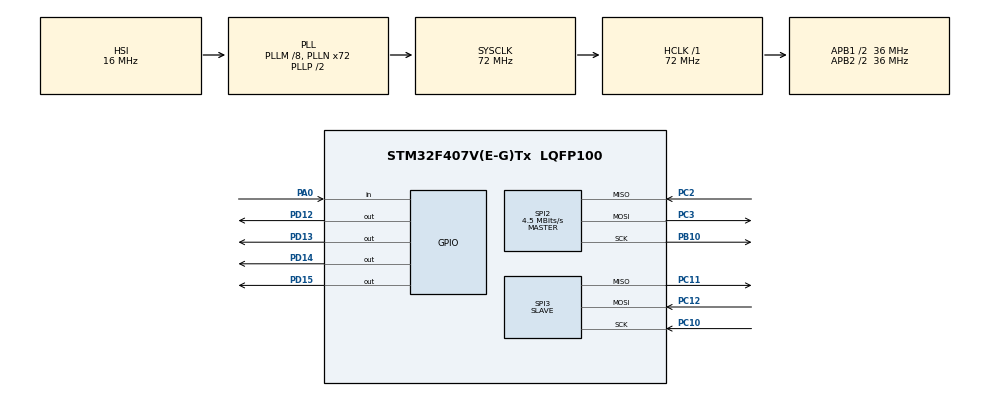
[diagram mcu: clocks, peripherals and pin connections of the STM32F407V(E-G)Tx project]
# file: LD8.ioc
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Mcu.Family=STM32F4
Mcu.Name=STM32F407V(E-G)Tx
Mcu.Package=LQFP100
NVIC.PriorityGroup=NVIC_PRIORITYGROUP_0
NVIC.SPI3_IRQn=true\:0\:0\:false\:false\:true\:true\:true\:true
NVIC.TIM2_IRQn=true\:0\:0\:false\:false\:true\:true\:true\:true
NVIC.TIM3_IRQn=true\:0\:0\:false\:false\:true\:true\:true\:true
PA0-WKUP.Signal=GPIO_Input
PB10.GPIO_PuPd=GPIO_NOPULL
PB10.Mode=Full_Duplex_Master
PB10.Signal=SPI2_SCK
PC10.GPIO_PuPd=GPIO_NOPULL
PC10.Mode=Full_Duplex_Slave
PC10.Signal=SPI3_SCK
PC11.GPIO_PuPd=GPIO_NOPULL
PC11.Mode=Full_Duplex_Slave
PC11.Signal=SPI3_MISO
PC12.GPIO_PuPd=GPIO_NOPULL
PC12.Mode=Full_Duplex_Slave
PC12.Signal=SPI3_MOSI
PC2.GPIO_PuPd=GPIO_NOPULL
PC2.Mode=Full_Duplex_Master
PC2.Signal=SPI2_MISO
PC3.GPIO_PuPd=GPIO_NOPULL
PC3.Mode=Full_Duplex_Master
PC3.Signal=SPI2_MOSI
PD12.Signal=GPIO_Output
PD13.Signal=GPIO_Output
PD14.Signal=GPIO_Output
PD15.Signal=GPIO_Output
ProjectManager.HeapSize=0x200
ProjectManager.StackSize=0x400
ProjectManager.TargetToolchain=STM32CubeIDE
RCC.48MHZClocksFreq_Value=20571428.57142857
RCC.AHBFreq_Value=72000000
RCC.APB1CLKDivider=RCC_HCLK_DIV2
RCC.APB1Freq_Value=36000000
RCC.APB1TimFreq_Value=72000000
RCC.APB2CLKDivider=RCC_HCLK_DIV2
RCC.APB2Freq_Value=36000000
RCC.APB2TimFreq_Value=72000000
RCC.CortexFreq_Value=72000000
RCC.HCLKFreq_Value=72000000
RCC.HSE_VALUE=8000000
RCC.HSI_VALUE=16000000
RCC.LSE_VALUE=32768
RCC.PLLM=8
RCC.PLLN=72
RCC.PLLQ=7
RCC.SYSCLKFreq_VALUE=72000000
RCC.SYSCLKSource=RCC_SYSCLKSOURCE_PLLCLK
RCC.VCOOutputFreq_Value=144000000
SPI2.BaudRatePrescaler=SPI_BAUDRATEPRESCALER_8
SPI2.CalculateBaudRate=4.5 MBits/s
SPI2.Direction=SPI_DIRECTION_2LINES
SPI2.Mode=SPI_MODE_MASTER
SPI2.VirtualType=VM_MASTER
SPI3.Direction=SPI_DIRECTION_2LINES
SPI3.Mode=SPI_MODE_SLAVE
SPI3.VirtualType=VM_SLAVE
TIM2.Period=2000-1
TIM2.Prescaler=36000-1
TIM3.Period=4000-1
TIM3.Prescaler=36000-1
VP_TIM2_VS_ClockSourceINT.Mode=Internal
VP_TIM3_VS_ClockSourceINT.Mode=Internal
board=STM32F407G-DISC1

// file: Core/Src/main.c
/* USER CODE BEGIN Header */
/**
  ******************************************************************************
  * @file           : main.c
  * @brief          : Main program body
  ******************************************************************************
  * @attention
  *
  * Copyright (c) 2024 STMicroelectronics.
  * All rights reserved.
  *
  * This software is licensed under terms that can be found in the LICENSE file
  * in the root directory of this software component.
  * If no LICENSE file comes with this software, it is provided AS-IS.
  *
  ******************************************************************************
  */
/* USER CODE END Header */
#include "main.h"

/* USER CODE BEGIN Includes */
#include <stdbool.h>
/* USER CODE END Includes */

/* USER CODE BEGIN PD */
int seconds = 0;
extern uint8_t numberToSend;
extern uint8_t receivedNumber;
uint8_t uzd_nr = 2;
uint8_t gues = 0;
bool win = false;
uint8_t happyNumber = 9;
/* USER CODE END PD */

SPI_HandleTypeDef hspi2;
SPI_HandleTypeDef hspi3;

TIM_HandleTypeDef htim2;
TIM_HandleTypeDef htim3;

void SystemClock_Config(void);
static void MX_GPIO_Init(void);
static void MX_TIM2_Init(void);
static void MX_TIM3_Init(void);
static void MX_SPI2_Init(void);
static void MX_SPI3_Init(void);

int main(void)
{

  /* MCU Configuration--------------------------------------------------------*/

  /* Reset of all peripherals, Initializes the Flash interface and the Systick. */
  HAL_Init();

  /* Configure the system clock */
  SystemClock_Config();

  /* Initialize all configured peripherals */
  MX_GPIO_Init();
  MX_TIM2_Init();
  MX_TIM3_Init();
  MX_SPI2_Init();
  MX_SPI3_Init();
  /* USER CODE BEGIN 2 */
  if (uzd_nr == 2){
  	  HAL_TIM_Base_Start_IT(&htim3);
  }
  /* USER CODE END 2 */

  /* Infinite loop */
  /* USER CODE BEGIN WHILE */
  while (1)
  {
	  if (uzd_nr == 1){
		  if (HAL_GPIO_ReadPin(GPIOA, GPIO_PIN_0) == GPIO_PIN_SET){
		  		  seconds = 0;
		  		  HAL_TIM_Base_Start_IT(&htim2);
		  		  bool condition_met = true;
		  	  	  while(condition_met) {
		  	  		  // Check the condition
		  	  		  if(HAL_GPIO_ReadPin(GPIOA, GPIO_PIN_0) == GPIO_PIN_SET) {
		  	  			  condition_met = true;
		  	  		  }
		  	  		  else if (HAL_GPIO_ReadPin(GPIOA, GPIO_PIN_0) == GPIO_PIN_RESET){
		  	  			condition_met = false;
		  	  			if (seconds == 0) {
		  	  				HAL_GPIO_WritePin(GPIOD, GPIO_PIN_12, GPIO_PIN_SET);
		  	  				HAL_GPIO_WritePin(GPIOD, GPIO_PIN_15, GPIO_PIN_RESET);
		  	  			}
		  	  			else if (seconds > 0) {
		  	  				HAL_GPIO_WritePin(GPIOD, GPIO_PIN_15, GPIO_PIN_SET);
		  	  				HAL_GPIO_WritePin(GPIOD, GPIO_PIN_12, GPIO_PIN_RESET);
		  	  			}
		  	  		  }
		  	  	  }
		  	  	  HAL_TIM_Base_Stop_IT(&htim2);
		  	  }
	  }
	  if (uzd_nr == 2){
		  if (HAL_GPIO_ReadPin(GPIOA, GPIO_PIN_0) == GPIO_PIN_SET){
			  gues = receivedNumber - 1;
			  seconds = 0;
			  HAL_TIM_Base_Start_IT(&htim2);
			  bool condition_met = true;
			  while(condition_met) {
				  // Check the condition
				  if(HAL_GPIO_ReadPin(GPIOA, GPIO_PIN_0) == GPIO_PIN_SET) {
					  condition_met = true;
				  }
				  else if (HAL_GPIO_ReadPin(GPIOA, GPIO_PIN_0) == GPIO_PIN_RESET){
					condition_met = false;
					if (seconds == 0) {
						if (gues == happyNumber){
							HAL_TIM_Base_Stop_IT(&htim3);
							win = true;
						}
						else;
					}
					else if (seconds > 0) {
						if (win == true){
							receivedNumber = 5;
							HAL_TIM_Base_Start_IT(&htim3);
							win = false;

						}
					}
				  }
			  }
			  HAL_TIM_Base_Stop_IT(&htim2);
		  }
	  }
    /* USER CODE END WHILE */

  }
}

void SystemClock_Config(void)
{
  RCC_OscInitTypeDef RCC_OscInitStruct = {0};
  RCC_ClkInitTypeDef RCC_ClkInitStruct = {0};

  /** Configure the main internal regulator output voltage
  */
  __HAL_RCC_PWR_CLK_ENABLE();
  __HAL_PWR_VOLTAGESCALING_CONFIG(PWR_REGULATOR_VOLTAGE_SCALE1);

  /** Initializes the RCC Oscillators according to the specified parameters
  * in the RCC_OscInitTypeDef structure.
  */
  RCC_OscInitStruct.OscillatorType = RCC_OSCILLATORTYPE_HSI;
  RCC_OscInitStruct.HSIState = RCC_HSI_ON;
  RCC_OscInitStruct.HSICalibrationValue = RCC_HSICALIBRATION_DEFAULT;
  RCC_OscInitStruct.PLL.PLLState = RCC_PLL_ON;
  RCC_OscInitStruct.PLL.PLLSource = RCC_PLLSOURCE_HSI;
  RCC_OscInitStruct.PLL.PLLM = 8;
  RCC_OscInitStruct.PLL.PLLN = 72;
  RCC_OscInitStruct.PLL.PLLP = RCC_PLLP_DIV2;
  RCC_OscInitStruct.PLL.PLLQ = 7;
  if (HAL_RCC_OscConfig(&RCC_OscInitStruct) != HAL_OK)
  {
    Error_Handler();
  }

  /** Initializes the CPU, AHB and APB buses clocks
  */
  RCC_ClkInitStruct.ClockType = RCC_CLOCKTYPE_HCLK|RCC_CLOCKTYPE_SYSCLK
                              |RCC_CLOCKTYPE_PCLK1|RCC_CLOCKTYPE_PCLK2;
  RCC_ClkInitStruct.SYSCLKSource = RCC_SYSCLKSOURCE_PLLCLK;
  RCC_ClkInitStruct.AHBCLKDivider = RCC_SYSCLK_DIV1;
  RCC_ClkInitStruct.APB1CLKDivider = RCC_HCLK_DIV2;
  RCC_ClkInitStruct.APB2CLKDivider = RCC_HCLK_DIV2;

  if (HAL_RCC_ClockConfig(&RCC_ClkInitStruct, FLASH_LATENCY_2) != HAL_OK)
  {
    Error_Handler();
  }
}

static void MX_SPI2_Init(void)
{

  /* SPI2 parameter configuration*/
  hspi2.Instance = SPI2;
  hspi2.Init.Mode = SPI_MODE_MASTER;
  hspi2.Init.Direction = SPI_DIRECTION_2LINES;
  hspi2.Init.DataSize = SPI_DATASIZE_8BIT;
  hspi2.Init.CLKPolarity = SPI_POLARITY_LOW;
  hspi2.Init.CLKPhase = SPI_PHASE_1EDGE;
  hspi2.Init.NSS = SPI_NSS_SOFT;
  hspi2.Init.BaudRatePrescaler = SPI_BAUDRATEPRESCALER_8;
  hspi2.Init.FirstBit = SPI_FIRSTBIT_MSB;
  hspi2.Init.TIMode = SPI_TIMODE_DISABLE;
  hspi2.Init.CRCCalculation = SPI_CRCCALCULATION_DISABLE;
  hspi2.Init.CRCPolynomial = 10;
  if (HAL_SPI_Init(&hspi2) != HAL_OK)
  {
    Error_Handler();
  }

}

static void MX_SPI3_Init(void)
{

  /* SPI3 parameter configuration*/
  hspi3.Instance = SPI3;
  hspi3.Init.Mode = SPI_MODE_SLAVE;
  hspi3.Init.Direction = SPI_DIRECTION_2LINES;
  hspi3.Init.DataSize = SPI_DATASIZE_8BIT;
  hspi3.Init.CLKPolarity = SPI_POLARITY_LOW;
  hspi3.Init.CLKPhase = SPI_PHASE_1EDGE;
  hspi3.Init.NSS = SPI_NSS_SOFT;
  hspi3.Init.FirstBit = SPI_FIRSTBIT_MSB;
  hspi3.Init.TIMode = SPI_TIMODE_DISABLE;
  hspi3.Init.CRCCalculation = SPI_CRCCALCULATION_DISABLE;
  hspi3.Init.CRCPolynomial = 10;
  if (HAL_SPI_Init(&hspi3) != HAL_OK)
  {
    Error_Handler();
  }

}

static void MX_TIM2_Init(void)
{

  TIM_ClockConfigTypeDef sClockSourceConfig = {0};
  TIM_MasterConfigTypeDef sMasterConfig = {0};

  htim2.Instance = TIM2;
  htim2.Init.Prescaler = 36000-1;
  htim2.Init.CounterMode = TIM_COUNTERMODE_UP;
  htim2.Init.Period = 2000-1;
  htim2.Init.ClockDivision = TIM_CLOCKDIVISION_DIV1;
  htim2.Init.AutoReloadPreload = TIM_AUTORELOAD_PRELOAD_DISABLE;
  if (HAL_TIM_Base_Init(&htim2) != HAL_OK)
  {
    Error_Handler();
  }
  sClockSourceConfig.ClockSource = TIM_CLOCKSOURCE_INTERNAL;
  if (HAL_TIM_ConfigClockSource(&htim2, &sClockSourceConfig) != HAL_OK)
  {
    Error_Handler();
  }
  sMasterConfig.MasterOutputTrigger = TIM_TRGO_RESET;
  sMasterConfig.MasterSlaveMode = TIM_MASTERSLAVEMODE_DISABLE;
  if (HAL_TIMEx_MasterConfigSynchronization(&htim2, &sMasterConfig) != HAL_OK)
  {
    Error_Handler();
  }

}

static void MX_TIM3_Init(void)
{

  TIM_ClockConfigTypeDef sClockSourceConfig = {0};
  TIM_MasterConfigTypeDef sMasterConfig = {0};

  htim3.Instance = TIM3;
  htim3.Init.Prescaler = 36000-1;
  htim3.Init.CounterMode = TIM_COUNTERMODE_UP;
  htim3.Init.Period = 4000-1;
  htim3.Init.ClockDivision = TIM_CLOCKDIVISION_DIV1;
  htim3.Init.AutoReloadPreload = TIM_AUTORELOAD_PRELOAD_DISABLE;
  if (HAL_TIM_Base_Init(&htim3) != HAL_OK)
  {
    Error_Handler();
  }
  sClockSourceConfig.ClockSource = TIM_CLOCKSOURCE_INTERNAL;
  if (HAL_TIM_ConfigClockSource(&htim3, &sClockSourceConfig) != HAL_OK)
  {
    Error_Handler();
  }
  sMasterConfig.MasterOutputTrigger = TIM_TRGO_RESET;
  sMasterConfig.MasterSlaveMode = TIM_MASTERSLAVEMODE_DISABLE;
  if (HAL_TIMEx_MasterConfigSynchronization(&htim3, &sMasterConfig) != HAL_OK)
  {
    Error_Handler();
  }

}

static void MX_GPIO_Init(void)
{
  GPIO_InitTypeDef GPIO_InitStruct = {0};

  /* GPIO Ports Clock Enable */
  __HAL_RCC_GPIOC_CLK_ENABLE();
  __HAL_RCC_GPIOA_CLK_ENABLE();
  __HAL_RCC_GPIOB_CLK_ENABLE();
  __HAL_RCC_GPIOD_CLK_ENABLE();

  /*Configure GPIO pin Output Level */
  HAL_GPIO_WritePin(GPIOD, GPIO_PIN_12|GPIO_PIN_13|GPIO_PIN_14|GPIO_PIN_15, GPIO_PIN_RESET);

  /*Configure GPIO pin : PA0 */
  GPIO_InitStruct.Pin = GPIO_PIN_0;
  GPIO_InitStruct.Mode = GPIO_MODE_INPUT;
  GPIO_InitStruct.Pull = GPIO_NOPULL;
  HAL_GPIO_Init(GPIOA, &GPIO_InitStruct);

  /*Configure GPIO pins : PD12 PD13 PD14 PD15 */
  GPIO_InitStruct.Pin = GPIO_PIN_12|GPIO_PIN_13|GPIO_PIN_14|GPIO_PIN_15;
  GPIO_InitStruct.Mode = GPIO_MODE_OUTPUT_PP;
  GPIO_InitStruct.Pull = GPIO_NOPULL;
  GPIO_InitStruct.Speed = GPIO_SPEED_FREQ_LOW;
  HAL_GPIO_Init(GPIOD, &GPIO_InitStruct);

}

/* USER CODE BEGIN 4 */
void HAL_TIM_PeriodElapsedCallback(TIM_HandleTypeDef *htim){
	seconds++;
}
/* USER CODE END 4 */

void Error_Handler(void)
{
  __disable_irq();
  while (1)
  {
  }
}
